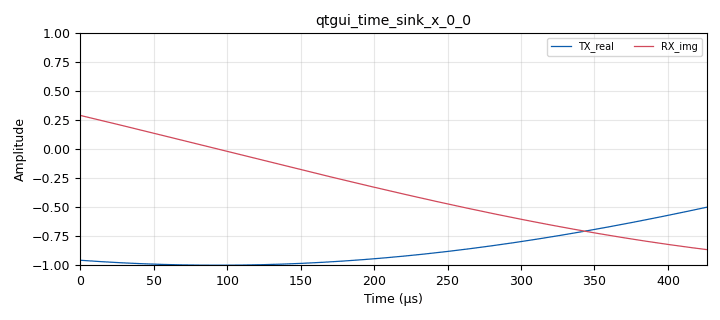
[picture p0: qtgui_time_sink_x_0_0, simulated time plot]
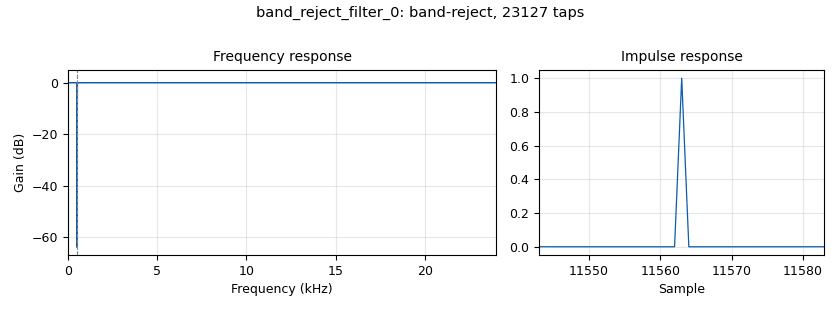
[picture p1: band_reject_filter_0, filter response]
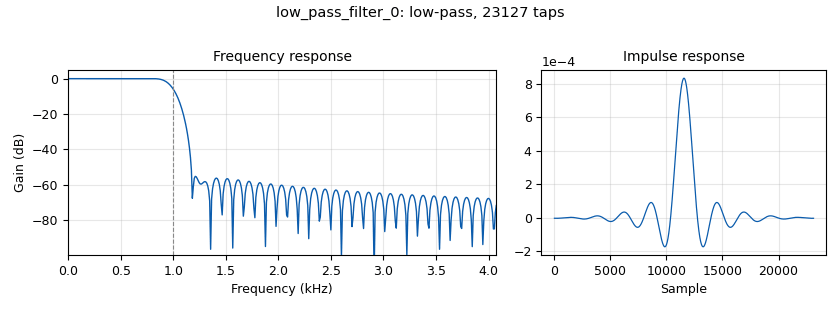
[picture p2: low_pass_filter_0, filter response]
options:
  parameters:
    generate_options: qt_gui
    id: rtl_teste
    output_language: python
  states: {}

blocks:
- name: attenuation
  id: variable_qtgui_range
  parameters:
    start: '0'
    step: '1'
    stop: '100'
    value: '10'
  states: {}
- name: audio_gain
  id: variable_qtgui_range
  parameters:
    start: '0'
    step: '1'
    stop: '100'
    value: '1'
  states: {}
- name: rx_gain
  id: variable_qtgui_range
  parameters:
    start: '0'
    step: '1'
    stop: '70'
    value: '64'
  states: {}
- name: samp_rate
  id: variable
  parameters:
    value: 2.4e6
  states: {}
- name: tone_freq
  id: variable_qtgui_range
  parameters:
    start: '-2e3'
    step: '1'
    stop: 2e3
    value: '500'
  states: {}
- name: analog_sig_source_x_0
  id: analog_sig_source_x
  parameters:
    amp: '1'
    freq: tone_freq
    offset: '0'
    phase: '0'
    samp_rate: samp_rate
    type: complex
    waveform: analog.GR_COS_WAVE
  states: {}
- name: audio_sink_0
  id: audio_sink
  parameters:
    samp_rate: '48000'
  states: {}
- name: band_reject_filter_0
  id: band_reject_filter
  parameters:
    decim: '1'
    gain: '1'
    high_cutoff_freq: '505'
    low_cutoff_freq: '495'
    samp_rate: samp_rate/50
    type: fir_filter_ccf
    width: '5'
    win: window.WIN_HAMMING
  states: {}
- name: blocks_complex_to_real_0
  id: blocks_complex_to_real
  parameters: {}
  states: {}
- name: blocks_multiply_const_vxx_0
  id: blocks_multiply_const_vxx
  parameters:
    const: audio_gain
    type: complex
  states: {}
- name: iio_pluto_sink_0
  id: iio_pluto_sink
  parameters:
    attenuation1: attenuation
    bandwidth: '20000000'
    buffer_size: '32768'
    cyclic: 'False'
    filter_source: '''Auto'''
    frequency: '3500000000'
    samplerate: int(samp_rate)
    type: fc32
    uri: ip:pluto.local
  states: {}
- name: iio_pluto_source_0
  id: iio_pluto_source
  parameters:
    bandwidth: '20000000'
    bbdc: 'True'
    buffer_size: '32768'
    filter_source: '''Auto'''
    frequency: '3500000000'
    gain1: '''manual'''
    manual_gain1: rx_gain
    quadrature: 'True'
    rfdc: 'True'
    samplerate: int(samp_rate)
    type: fc32
    uri: ip:pluto.local
  states: {}
- name: low_pass_filter_0
  id: low_pass_filter
  parameters:
    cutoff_freq: tone_freq*2
    decim: '50'
    gain: '1'
    samp_rate: samp_rate
    type: fir_filter_ccf
    width: '250'
    win: window.WIN_HAMMING
  states: {}
- name: qtgui_freq_sink_x_0
  id: qtgui_freq_sink_x
  parameters:
    bw: samp_rate
    fc: '0'
    fftsize: 1024*8
    label1: RX
    type: complex
  states: {}
- name: qtgui_freq_sink_x_1
  id: qtgui_freq_sink_x
  parameters:
    bw: samp_rate/50
    fc: '0'
    fftsize: 1024*8
    label1: LPF
    type: complex
  states: {}
- name: qtgui_freq_sink_x_2
  id: qtgui_freq_sink_x
  parameters:
    bw: samp_rate/50
    fc: '0'
    fftsize: 1024*8
    label1: Brej
    type: complex
  states: {}
- name: qtgui_time_sink_x_0
  id: qtgui_time_sink_x
  parameters:
    label1: LPF_real
    label2: LPF_img
    size: '1024'
    srate: samp_rate/50
    type: complex
  states: {}
- name: qtgui_time_sink_x_0_0
  id: qtgui_time_sink_x
  parameters:
    label1: TX_real
    label2: RX_img
    size: '1024'
    srate: samp_rate
    type: complex
  states: {}
- name: qtgui_time_sink_x_1
  id: qtgui_time_sink_x
  parameters:
    label1: RX_real
    label2: RX_img
    size: 1024*8
    srate: samp_rate
    type: complex
  states: {}
- name: qtgui_time_sink_x_2
  id: qtgui_time_sink_x
  parameters:
    entags: 'False'
    label1: Brej_real
    label2: Brej_img
    size: '1024'
    srate: samp_rate/50
    type: complex
  states: {}

connections:
- [analog_sig_source_x_0, '0', iio_pluto_sink_0, '0']
- [analog_sig_source_x_0, '0', qtgui_time_sink_x_0_0, '0']
- [band_reject_filter_0, '0', blocks_multiply_const_vxx_0, '0']
- [blocks_complex_to_real_0, '0', audio_sink_0, '0']
- [blocks_multiply_const_vxx_0, '0', blocks_complex_to_real_0, '0']
- [blocks_multiply_const_vxx_0, '0', qtgui_freq_sink_x_2, '0']
- [blocks_multiply_const_vxx_0, '0', qtgui_time_sink_x_2, '0']
- [iio_pluto_source_0, '0', low_pass_filter_0, '0']
- [iio_pluto_source_0, '0', qtgui_freq_sink_x_0, '0']
- [iio_pluto_source_0, '0', qtgui_time_sink_x_1, '0']
- [low_pass_filter_0, '0', band_reject_filter_0, '0']
- [low_pass_filter_0, '0', qtgui_freq_sink_x_1, '0']
- [low_pass_filter_0, '0', qtgui_time_sink_x_0, '0']

metadata:
  file_format: 1
  grc_version: 3.10.10.0
